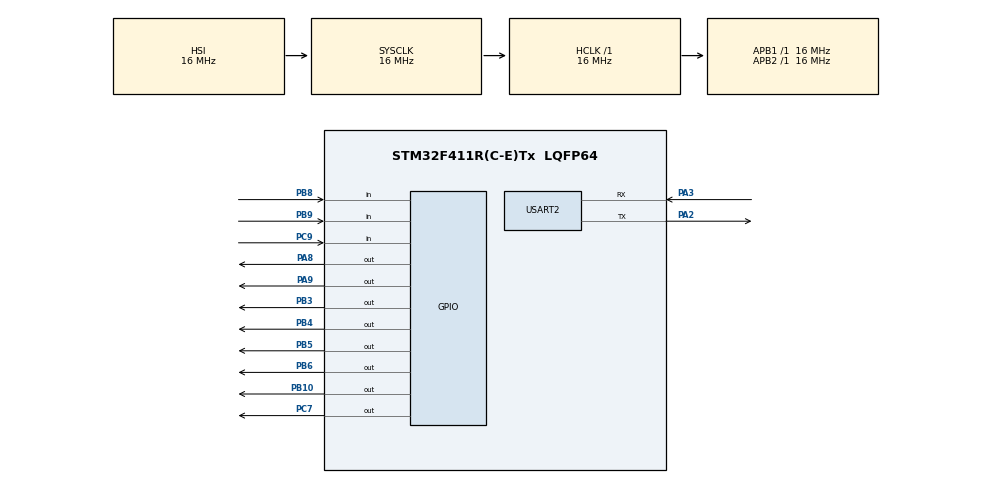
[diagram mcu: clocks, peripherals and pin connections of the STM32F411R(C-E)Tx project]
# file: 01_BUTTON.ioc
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Mcu.Family=STM32F4
Mcu.Name=STM32F411R(C-E)Tx
Mcu.Package=LQFP64
NVIC.PriorityGroup=NVIC_PRIORITYGROUP_4
PA13.Mode=Serial_Wire
PA13.Signal=SYS_JTMS-SWDIO
PA14.Mode=Serial_Wire
PA14.Signal=SYS_JTCK-SWCLK
PA2.Mode=Asynchronous
PA2.Signal=USART2_TX
PA3.Mode=Asynchronous
PA3.Signal=USART2_RX
PA8.Signal=GPIO_Output
PA9.Signal=GPIO_Output
PB10.Signal=GPIO_Output
PB3.Signal=GPIO_Output
PB4.Signal=GPIO_Output
PB5.Signal=GPIO_Output
PB6.Signal=GPIO_Output
PB8.Signal=GPIO_Input
PB9.Signal=GPIO_Input
PC7.Signal=GPIO_Output
PC9.Signal=GPIO_Input
PH0\ -\ OSC_IN.Mode=HSE-External-Clock-Source
PH0\ -\ OSC_IN.Signal=RCC_OSC_IN
PH1\ -\ OSC_OUT.Mode=HSE-External-Clock-Source
PH1\ -\ OSC_OUT.Signal=RCC_OSC_OUT
ProjectManager.HeapSize=0x200
ProjectManager.StackSize=0x400
ProjectManager.TargetToolchain=STM32CubeIDE
RCC.48MHZClocksFreq_Value=100000000
RCC.AHBFreq_Value=16000000
RCC.APB1Freq_Value=16000000
RCC.APB2Freq_Value=16000000
RCC.CortexFreq_Value=16000000
RCC.HSE_VALUE=4000000
RCC.HSI_VALUE=16000000
RCC.LSE_VALUE=32768
RCC.PLLM=4
RCC.PLLN=100
RCC.SYSCLKFreq_VALUE=16000000
RCC.VCOOutputFreq_Value=400000000
USART2.VirtualMode=VM_ASYNC
board=custom

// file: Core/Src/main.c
/* USER CODE BEGIN Header */
/**
  ******************************************************************************
  * @file           : main.c
  * @brief          : Main program body
  ******************************************************************************
  * @attention
  *
  * Copyright (c) 2026 STMicroelectronics.
  * All rights reserved.
  *
  * This software is licensed under terms that can be found in the LICENSE file
  * in the root directory of this software component.
  * If no LICENSE file comes with this software, it is provided AS-IS.
  *
  ******************************************************************************
  */
/* USER CODE END Header */
#include "main.h"
#include "usart.h"
#include "gpio.h"

/* USER CODE BEGIN Includes */
# include "led.h"
#include "button.h"
/* USER CODE END Includes */

/* USER CODE BEGIN PD */
#define DEBOUNCE_DELAY                  50

/* USER CODE END PD */

void SystemClock_Config(void);
/* USER CODE BEGIN PFP */
// 현재의 tick (카운트)을 가져오는 함수(아두이노)
uint32_t milis(){

    return HAL_GetTick();
}
/* USER CODE END PFP */

int main(void)
{

  /* MCU Configuration--------------------------------------------------------*/

  /* Reset of all peripherals, Initializes the Flash interface and the Systick. */
  HAL_Init();

  /* Configure the system clock */
  SystemClock_Config();

  /* Initialize all configured peripherals */
  MX_GPIO_Init();
  MX_USART2_UART_Init();
  /* USER CODE BEGIN 2 */
  ledinit();
  //uint32_t lastDebounceTime = 0;
// GPIO_PinState lastDebounceState = GPIO_PIN_SET;
 uint8_t i = 0;

  /* USER CODE END 2 */

  /* Infinite loop */
  /* USER CODE BEGIN WHILE */
  while (1)
  {

          if(buttonGetPressed(0)){
              HAL_GPIO_WritePin(GPIOA, GPIO_PIN_8, GPIO_PIN_SET);
          }
          if (buttonGetPressed(1)){
              HAL_GPIO_WritePin(GPIOA, GPIO_PIN_8, GPIO_PIN_RESET);
          }
          if(buttonGetPressed(2)){
                  ledShift(i);
                  i++;
           }
          if(i % 8 == 0){
              i = 0;
              HAL_Delay(20);
          }

      /* USER CODE END WHILE */

       }
}

//stm의 파란버튼 코드
//      GPIO_PinState currnetButtonState = HAL_GPIO_ReadPin(GPIOC, GPIO_PIN_13);
//
//      //상태가 변한경우
//      if(currnetButtonState != lastDebounceState){
//          // 디바운스 시간 동안 잠시 대기
//          if(milis()- lastDebounceTime > DEBOUNCE_DELAY){
//              if(currnetButtonState == GPIO_PIN_SET){
//                      HAL_GPIO_WritePin(GPIOA, GPIO_PIN_8, 1);
//                  }
//              else{
//                  //버튼이 눌리지 않았을떄
//                  HAL_GPIO_WritePin(GPIOA, GPIO_PIN_8, 0);
//                  }
//              lastDebounceTime = milis();
//              }
//      }
//      lastDebounceState = currnetButtonState;

void SystemClock_Config(void)
{
  RCC_OscInitTypeDef RCC_OscInitStruct = {0};
  RCC_ClkInitTypeDef RCC_ClkInitStruct = {0};

  /** Configure the main internal regulator output voltage
  */
  __HAL_RCC_PWR_CLK_ENABLE();
  __HAL_PWR_VOLTAGESCALING_CONFIG(PWR_REGULATOR_VOLTAGE_SCALE1);

  /** Initializes the RCC Oscillators according to the specified parameters
  * in the RCC_OscInitTypeDef structure.
  */
  RCC_OscInitStruct.OscillatorType = RCC_OSCILLATORTYPE_HSI;
  RCC_OscInitStruct.HSIState = RCC_HSI_ON;
  RCC_OscInitStruct.HSICalibrationValue = RCC_HSICALIBRATION_DEFAULT;
  RCC_OscInitStruct.PLL.PLLState = RCC_PLL_NONE;
  if (HAL_RCC_OscConfig(&RCC_OscInitStruct) != HAL_OK)
  {
    Error_Handler();
  }

  /** Initializes the CPU, AHB and APB buses clocks
  */
  RCC_ClkInitStruct.ClockType = RCC_CLOCKTYPE_HCLK|RCC_CLOCKTYPE_SYSCLK
                              |RCC_CLOCKTYPE_PCLK1|RCC_CLOCKTYPE_PCLK2;
  RCC_ClkInitStruct.SYSCLKSource = RCC_SYSCLKSOURCE_HSI;
  RCC_ClkInitStruct.AHBCLKDivider = RCC_SYSCLK_DIV1;
  RCC_ClkInitStruct.APB1CLKDivider = RCC_HCLK_DIV1;
  RCC_ClkInitStruct.APB2CLKDivider = RCC_HCLK_DIV1;

  if (HAL_RCC_ClockConfig(&RCC_ClkInitStruct, FLASH_LATENCY_0) != HAL_OK)
  {
    Error_Handler();
  }
}

void Error_Handler(void)
{
  __disable_irq();
  while (1)
  {
  }
}
